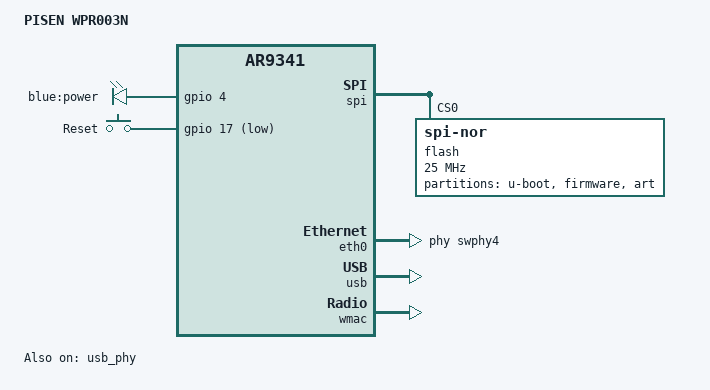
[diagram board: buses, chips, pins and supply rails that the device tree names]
// SPDX-License-Identifier: GPL-2.0-or-later OR MIT

#include "ar9341.dtsi"

#include <dt-bindings/gpio/gpio.h>
#include <dt-bindings/input/input.h>

/ {
	model = "PISEN WPR003N";
	compatible = "pisen,wpr003n", "qca,ar9341";

	aliases {
		led-boot = &led_power;
		led-failsafe = &led_power;
		led-running = &led_power;
		led-upgrade = &led_power;
		label-mac-device = &wmac;
	};

	leds {
		compatible = "gpio-leds";

		led_power: power {
			label = "blue:power";
			gpios = <&gpio 4 GPIO_ACTIVE_HIGH>;
			default-state = "on";
		};

	};

	keys {
		compatible = "gpio-keys";

		reset {
			label = "Reset";
			linux,code = <KEY_RESTART>;
			gpios = <&gpio 17 GPIO_ACTIVE_LOW>;
			debounce-interval = <60>;
		};
	};
};

&spi {
	status = "okay";

	flash@0 {
		compatible = "jedec,spi-nor";
		reg = <0>;
		spi-max-frequency = <25000000>;

		partitions {
			compatible = "fixed-partitions";
			#address-cells = <1>;
			#size-cells = <1>;

			uboot: partition@0 {
				label = "u-boot";
				reg = <0x000000 0x020000>;
				read-only;
			};

			partition@20000 {
				compatible = "tplink,firmware";
				label = "firmware";
				reg = <0x020000 0xfd0000>;
			};

			art: partition@ff0000 {
				label = "art";
				reg = <0xff0000 0x010000>;
				read-only;
			};
		};
	};
};

&eth0 {
	status = "okay";

	phy-handle = <&swphy4>;

	mtd-mac-address = <&uboot 0x1fc00>;
	mtd-mac-address-increment = <(-1)>;
};

&eth1 {
	mtd-mac-address = <&uboot 0x1fc00>;

	gmac-config {
		device = <&gmac>;
		switch-phy-only_mode = <0>;
	};
};

&usb {
	status = "okay";
};

&usb_phy {
	status = "okay";
};

&wmac {
	status = "okay";
	mtd-cal-data = <&art 0x1000>;
};
